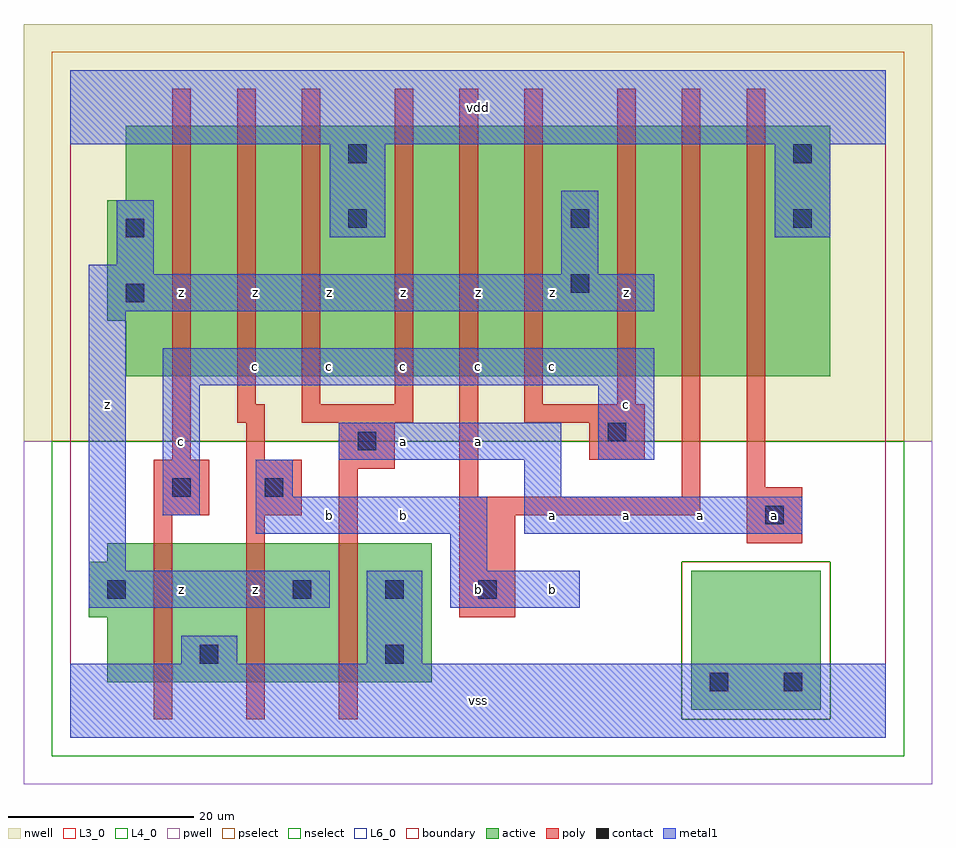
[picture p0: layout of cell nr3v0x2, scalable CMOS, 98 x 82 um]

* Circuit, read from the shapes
.subckt nr3v0x2 a b c vdd vss z
M1 vss c z vss nfet w=15u l=2u
M2 z b vss vss nfet w=15u l=2u
M3 vss a z vss nfet w=15u l=2u
M4 n1 c z n2 pfet w=27u l=2u
M5 n3 b n1 n2 pfet w=27u l=2u
M6 vdd a n3 n2 pfet w=27u l=2u
M7 n4 a vdd n2 pfet w=27u l=2u
M8 n5 b n4 n2 pfet w=27u l=2u
M9 z c n5 n2 pfet w=27u l=2u
M10 n6 c z n2 pfet w=27u l=2u
M11 n7 b n6 n2 pfet w=27u l=2u
M12 vdd a n7 n2 pfet w=27u l=2u
.ends

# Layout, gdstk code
import gdstk
lib = gdstk.Library(unit=1e-6, precision=1e-09)
def R(c, l, rs):  # rectangles x0, y0, x1, y1
    for r in rs: c.add(gdstk.rectangle(r[:2], r[2:], *l))
def A(c, l, x, y, w, h, nx, ny, dx, dy):  # array of equal rectangles
    R(c, l, [(x+i*dx, y+j*dy, x+i*dx+w, y+j*dy+h) for i in range(nx) for j in range(ny)])
L3_0 = (3, 0)
L4_0 = (4, 0)
L6_0 = (6, 0)
contact = (25, 0)
pwell = (41, 0)
nwell = (42, 0)
active = (43, 0)
pselect = (44, 0)
nselect = (45, 0)
poly = (46, 0)
metal1 = (49, 0)
boundary = (63, 0)

nr3v0x2 = lib.new_cell('nr3v0x2')
R(nr3v0x2, L3_0, [(4,6,39,13), (2,13,39,19), (4,19,39,21)])
R(nr3v0x2, L4_0, [(6,39,82,45), (4,45,82,58), (6,58,82,66)])
R(nr3v0x2, L6_0, [(67,3,81,18)])
A(nr3v0x2, contact, 24, 15, 2, 2, 3, 1, 10, 0)
A(nr3v0x2, contact, 30, 55, 2, 2, 3, 1, 24, 0)
R(nr3v0x2, contact, [(69,5,71,7), (77,5,79,7), (14,8,16,10), (34,8,36,10), (4,15,6,17), (75,23,77,25), (11,26,13,28), (21,26,23,28), (31,31,33,33), (58,32,60,34), (6,47,8,49), (54,48,56,50), (6,54,8,56), (30,62,32,64), (78,62,80,64)])
R(nr3v0x2, pwell, [(-5,-5,93,32)])
R(nr3v0x2, nwell, [(-5,32,93,77)])
R(nr3v0x2, active, [(67,3,81,18), (4,6,39,13), (2,13,39,19), (4,19,39,21), (6,39,82,45), (4,45,82,58), (6,58,82,66)])
R(nr3v0x2, pselect, [(66,2,82,19), (-2,32,90,74)])
R(nr3v0x2, nselect, [(-2,-2,90,2), (-2,2,66,19), (82,2,90,19), (-2,19,90,32)])
R(nr3v0x2, poly, [(9,2,11,24), (19,2,21,24), (29,2,31,29), (42,13,48,24), (73,21,79,27), (9,24,15,30), (19,24,25,30), (42,24,68,26), (42,26,44,70), (66,26,68,70), (73,27,75,70), (29,29,35,34), (11,30,13,70), (19,30,21,34), (56,30,62,34), (18,34,21,36), (25,34,37,36), (49,34,62,36), (18,36,20,70), (25,36,27,70), (35,36,37,70), (49,36,51,70), (59,36,61,70)])
R(nr3v0x2, metal1, [(0,0,88,8), (12,8,18,11), (32,8,38,18), (2,14,28,18), (41,14,55,18), (2,18,6,46), (41,18,45,22), (20,22,45,26), (49,22,79,26), (10,24,14,38), (20,26,24,30), (49,26,53,30), (29,30,53,34), (57,30,63,38), (10,38,63,42), (2,46,63,50), (2,50,9,51), (53,50,57,59), (5,51,9,58), (28,54,34,64), (76,54,82,64), (0,64,88,72)])
R(nr3v0x2, boundary, [(0,0,88,72)])
nr3v0x2.add(gdstk.Label('z', (12,16), layer=49, texttype=0))
nr3v0x2.add(gdstk.Label('c', (12,32), layer=49, texttype=0))
nr3v0x2.add(gdstk.Label('z', (4,36), layer=49, texttype=0))
nr3v0x2.add(gdstk.Label('z', (12,48), layer=49, texttype=0))
nr3v0x2.add(gdstk.Label('z', (20,16), layer=49, texttype=0))
nr3v0x2.add(gdstk.Label('b', (28,24), layer=49, texttype=0))
nr3v0x2.add(gdstk.Label('c', (20,40), layer=49, texttype=0))
nr3v0x2.add(gdstk.Label('c', (28,40), layer=49, texttype=0))
nr3v0x2.add(gdstk.Label('z', (20,48), layer=49, texttype=0))
nr3v0x2.add(gdstk.Label('z', (28,48), layer=49, texttype=0))
nr3v0x2.add(gdstk.Label('vss', (44,4), layer=49, texttype=0))
nr3v0x2.add(gdstk.Label('b', (44,16), layer=49, texttype=0))
nr3v0x2.add(gdstk.Label('b', (36,24), layer=49, texttype=0))
nr3v0x2.add(gdstk.Label('a', (44,32), layer=49, texttype=0))
nr3v0x2.add(gdstk.Label('a', (36,32), layer=49, texttype=0))
nr3v0x2.add(gdstk.Label('c', (36,40), layer=49, texttype=0))
nr3v0x2.add(gdstk.Label('c', (44,40), layer=49, texttype=0))
nr3v0x2.add(gdstk.Label('z', (36,48), layer=49, texttype=0))
nr3v0x2.add(gdstk.Label('z', (44,48), layer=49, texttype=0))
nr3v0x2.add(gdstk.Label('vdd', (44,68), layer=49, texttype=0))
nr3v0x2.add(gdstk.Label('b', (52,16), layer=49, texttype=0))
nr3v0x2.add(gdstk.Label('a', (52,24), layer=49, texttype=0))
nr3v0x2.add(gdstk.Label('a', (60,24), layer=49, texttype=0))
nr3v0x2.add(gdstk.Label('a', (68,24), layer=49, texttype=0))
nr3v0x2.add(gdstk.Label('c', (52,40), layer=49, texttype=0))
nr3v0x2.add(gdstk.Label('c', (60,36), layer=49, texttype=0))
nr3v0x2.add(gdstk.Label('z', (52,48), layer=49, texttype=0))
nr3v0x2.add(gdstk.Label('z', (60,48), layer=49, texttype=0))
nr3v0x2.add(gdstk.Label('a', (76,24), layer=49, texttype=0))

lib.write_gds('nr3v0x2.gds')
